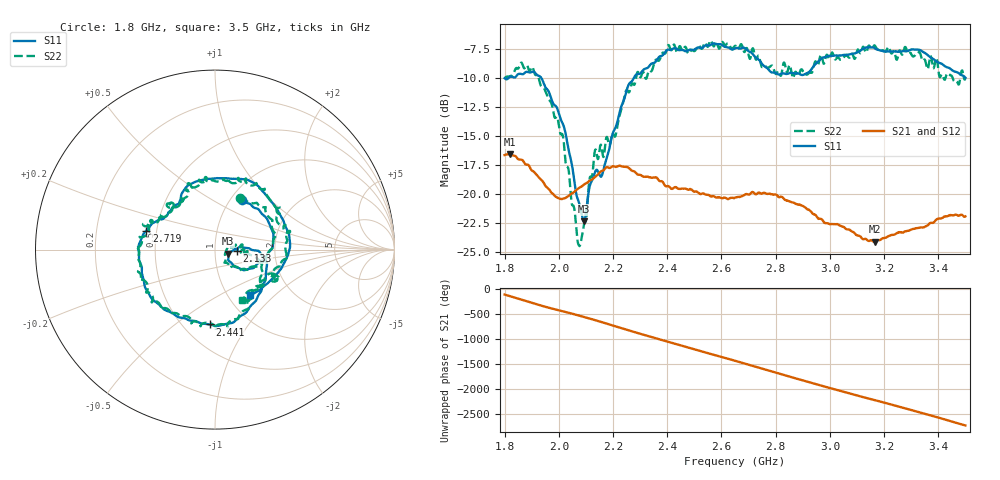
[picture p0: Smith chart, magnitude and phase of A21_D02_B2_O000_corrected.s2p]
! Created with skrf 1.9.0 (http://scikit-rf.org).
# Hz S RI R 50.0
!freq ReS11 ImS11 ReS21 ImS21 ReS12 ImS12 ReS22 ImS22
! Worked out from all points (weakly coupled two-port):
!   1601 points, 1.8 GHz to 3.5 GHz, reference 50 ohm
!   highest |S21| = -16.55 dB at 1.819 GHz (marker M1); lowest = -24.1 dB at 3.165 GHz (marker M2)
!   lowest |S11| = -22.3 dB at 2.092 GHz (marker M3), VSWR 1.17, Z = 57.8 - j2.62 ohm
!   |S11| at or under -10 dB: start of sweep to 1.814 GHz; 1.936 GHz to 2.276 GHz (340.5 MHz wide, 16.2 % of centre)
!   |S22| runs from -24.5 to -6.8 dB; largest |S21 - S12| = 0.0026
!   S11 on the Smith chart (normalised r, x): 1.8 GHz: 1.13, +0.70; 2.133 GHz: 1.28, -0.01; 2.441 GHz: 0.67, -0.68; 2.719 GHz: 0.44, +0.11; 3.5 GHz: 1.26, -0.71
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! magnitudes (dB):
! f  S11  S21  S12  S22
! 1.8 GHz  -10.0  -16.6  -16.6  -9.9
! 1.819 GHz  -9.9  -16.5  -16.6  -9.8
! 1.902 GHz  -9.5  -18.0  -17.9  -9.0
! 1.968 GHz  -11.5  -19.7  -19.7  -12.0
! 2.021 GHz  -14.4  -20.4  -20.4  -16.2
! 2.071 GHz  -20.5  -19.5  -19.5  -24.2
! 2.084 GHz  -21.6  -19.3  -19.3  -23.8
! 2.092 GHz  -22.3  -19.2  -19.2  -22.7
! 2.133 GHz  -18.2  -18.5  -18.5  -16.3
! 2.161 GHz  -18.2  -18.0  -17.9  -16.5
! 2.209 GHz  -14.3  -17.6  -17.6  -15.0
! 2.259 GHz  -10.5  -17.7  -17.8  -11.2
! 2.367 GHz  -8.2  -18.7  -18.7  -8.5
! 2.441 GHz  -7.6  -19.5  -19.5  -7.5
! 2.65 GHz  -7.4  -20.3  -20.3  -7.2
! 2.719 GHz  -8.0  -19.9  -19.8  -7.6
! 2.809 GHz  -9.7  -20.2  -20.1  -9.4
! 2.934 GHz  -9.2  -21.6  -21.6  -9.5
! 3.165 GHz  -7.4  -24.1  -24.1  -7.2
! 3.217 GHz  -7.7  -23.6  -23.6  -7.3
! 3.33 GHz  -7.6  -22.9  -22.9  -7.8
! 3.5 GHz  -10.0  -21.9  -21.9  -9.9
